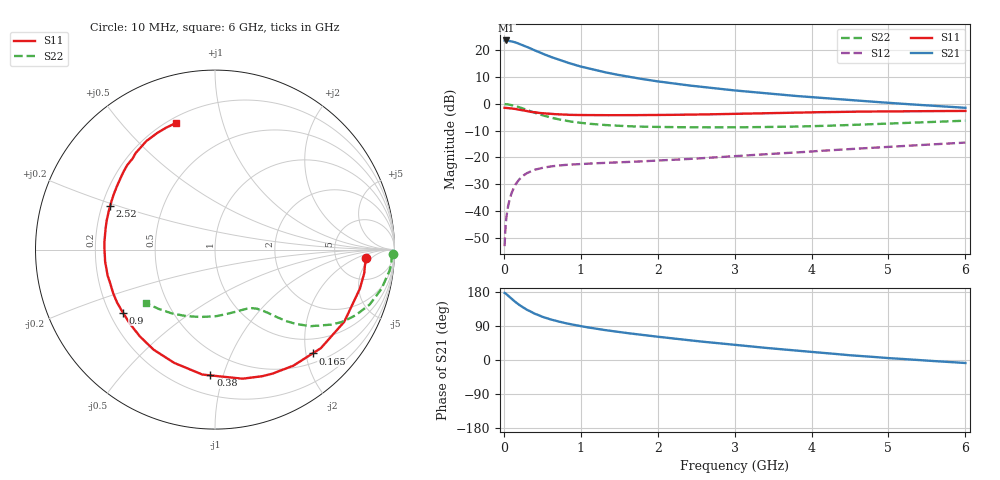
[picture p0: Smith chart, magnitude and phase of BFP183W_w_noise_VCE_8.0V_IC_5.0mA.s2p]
! Infineon Technologies  Discrete & RF Semiconductors
! BFP183W
! VCE = 8.0 V,  IC =  5.0 mA
! Common Emitter S-Parameters:  Jan 2016
# GHz  S  MA  R  50
!  f  S11  S21  S12  S22
! GHz  MAG  ANG  MAG  ANG  MAG  ANG  MAG  ANG
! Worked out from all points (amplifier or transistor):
!   210 points, 10 MHz to 6 GHz, reference 50 ohm
!   highest |S21| = 23.7 dB at 30 MHz (marker M1)
!   |S21| within 3 dB of that: start of sweep to 345.5 MHz
!   unconditionally stable (mu >= 1): 1.848 GHz to 5.916 GHz
!   at 185 MHz: K = 0.14, MSG = 25.7 dB, |S12| = -28.8 dB
!   at 1.52 GHz: K = 0.88, MSG = 16.2 dB, |S12| = -21.8 dB
!   at 6 GHz: K = 0.99, MSG = 6.5 dB, |S12| = -14.5 dB
!   lowest NFmin = 1.15 dB at 450 MHz
!   S11 on the Smith chart (normalised r, x): 10 MHz: 11, -3; 165 MHz: 0.68, -2.13; 380 MHz: 0.33, -0.91; 900 MHz: 0.25, -0.29; 2.52 GHz: 0.23, +0.19; 6 GHz: 0.23, +0.71
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0.01  0.8446 -3.0  15.27 177.0  0.0022 87.2  0.9908 -1.4
0.03  0.8418 -8.9  15.29 174.4  0.007 84.0  0.9858 -4.2
0.1  0.8248 -29.2  14.7 161.8  0.0214 73.9  0.9522 -13.4
0.15  0.8059 -43.0  14.1 153.1  0.0309 67.6  0.914 -19.6
0.165  0.794 -46.8  13.82 150.9  0.0332 65.6  0.899 -21.1
0.2  0.7803 -56.0  13.28 145.4  0.0388 62.0  0.8666 -24.8
0.26  0.753 -69.5  12.27 137.6  0.0465 55.3  0.8085 -30.1
0.3  0.7354 -78.0  11.57 132.5  0.0508 51.9  0.7681 -33.0
0.38  0.7012 -92.1  10.3 124.6  0.0571 46.1  0.6992 -37.4
0.4  0.6997 -95.8  10.01 122.3  0.0587 44.8  0.6827 -38.7
0.5  0.6708 -109.8  8.698 114.1  0.064 39.9  0.6138 -42.5
0.6  0.6542 -121.5  7.637 107.5  0.0677 36.2  0.5602 -45.2
0.72  0.6365 -132.5  6.651 101.2  0.0707 33.7  0.5118 -47.4
0.9  0.622 -145.7  5.486 93.0  0.074 31.1  0.4603 -50.0
1.02  0.6192 -152.7  4.901 88.6  0.0754 30.2  0.4389 -51.5
1.46  0.6149 -172.3  3.54 75.0  0.0805 29.7  0.3919 -56.6
2.02  0.62 170.1  2.609 61.0  0.0879 31.9  0.3707 -64.0
2.52  0.6325 157.5  2.115 49.8  0.0956 34.3  0.3646 -72.1
3.1  0.6543 145.3  1.73 38.0  0.1075 36.4  0.3656 -82.6
4.1  0.6991 128.0  1.306 19.6  0.1321 37.5  0.3863 -104.2
5.1  0.7259 115.5  1.023 3.8  0.1604 36.0  0.4336 -126.1
6  0.7383 107.1  0.844 -7.9  0.1892 33.4  0.4852 -142.0
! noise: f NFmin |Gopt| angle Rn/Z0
0.45  1.15  0.25  40  0.26
0.9  1.2  0.25  93  0.22
1.8  1.95  0.32  170  0.13
